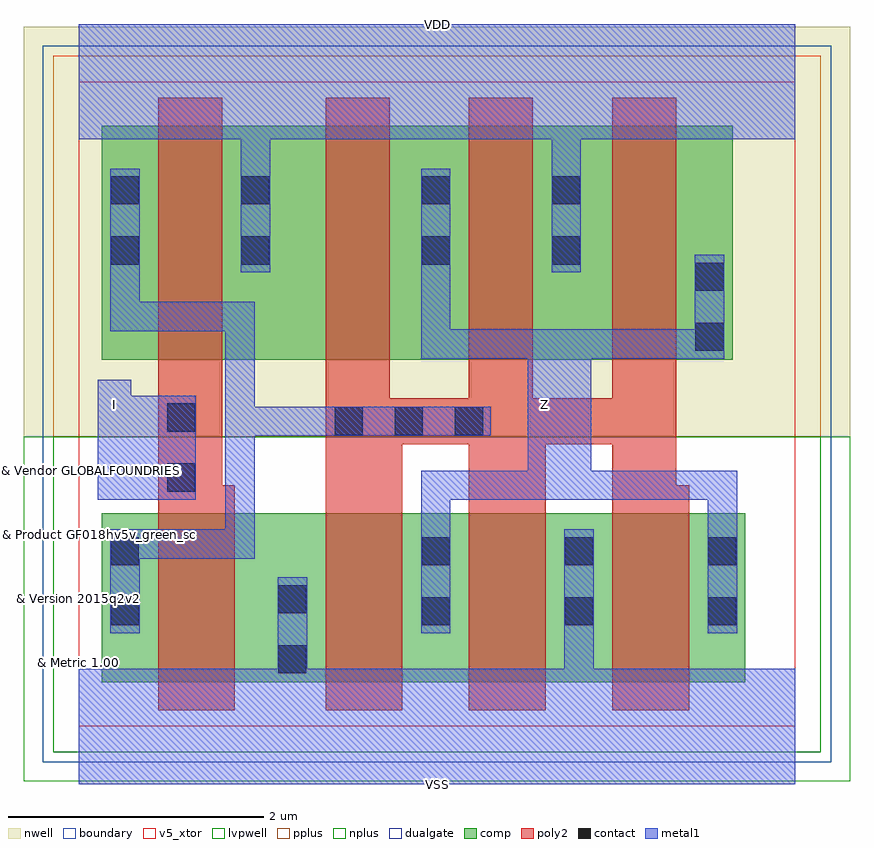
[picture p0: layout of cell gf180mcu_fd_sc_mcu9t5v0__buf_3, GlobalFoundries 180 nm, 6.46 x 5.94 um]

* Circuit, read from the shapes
.subckt gf180mcu_fd_sc_mcu9t5v0__buf_3 I VDD VSS Z
XM1 VSS I n1 VSUBS nfet_05v0 w=1.32u l=0.6u
XM2 Z n1 VSS VSUBS nfet_05v0 w=1.32u l=0.6u m=3
XM3 VDD I n1 n2 pfet_05v0 w=1.83u l=0.5u
XM4 Z n1 VDD n2 pfet_05v0 w=1.83u l=0.5u m=3
.ends

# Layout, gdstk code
import gdstk
lib = gdstk.Library(unit=1e-6, precision=1e-09)
def R(c, l, rs):  # rectangles x0, y0, x1, y1
    for r in rs: c.add(gdstk.rectangle(r[:2], r[2:], *l))
def A(c, l, x, y, w, h, nx, ny, dx, dy):  # array of equal rectangles
    R(c, l, [(x+i*dx, y+j*dy, x+i*dx+w, y+j*dy+h) for i in range(nx) for j in range(ny)])
def P(c, l, *ps):  # polygons
    for p in ps: c.add(gdstk.Polygon(p, *l))
boundary = (0, 0)
nwell = (21, 0)
comp = (22, 0)
poly2 = (30, 0)
pplus = (31, 0)
nplus = (32, 0)
contact = (33, 0)
metal1 = (34, 0)
dualgate = (55, 0)
v5_xtor = (112, 1)
lvpwell = (204, 0)

gf180mcu_fd_sc_mcu9t5v0_ = lib.new_cell('gf180mcu_fd_sc_mcu9t5v0__buf_3')
R(gf180mcu_fd_sc_mcu9t5v0_, boundary, [(0,0,5.6,5.04)])
R(gf180mcu_fd_sc_mcu9t5v0_, nwell, [(-0.43,2.265,6.03,5.47)])
R(gf180mcu_fd_sc_mcu9t5v0_, comp, [(0.18,0.345,5.21,1.665), (0.18,2.865,5.11,4.695)])
P(gf180mcu_fd_sc_mcu9t5v0_, poly2, [(0.62,0.125),(0.62,4.915),(1.12,4.915),(1.12,1.885),(1.22,1.885),(1.22,0.125)],
  [(1.93,0.125),(1.93,4.915),(2.43,4.915),(2.43,2.565),(3.05,2.565),(3.05,4.915),(3.55,4.915),(3.55,2.565),(4.17,2.565),(4.17,4.915),(4.67,4.915),(4.67,1.885),(4.77,1.885),(4.77,0.125),(4.17,0.125),(4.17,2.205),(3.65,2.205),(3.65,0.125),(3.05,0.125),(3.05,2.205),(2.53,2.205),(2.53,0.125)])
R(gf180mcu_fd_sc_mcu9t5v0_, pplus, [(-0.2,2.265,5.8,5.24)])
R(gf180mcu_fd_sc_mcu9t5v0_, nplus, [(-0.2,-0.2,5.8,2.265)])
A(gf180mcu_fd_sc_mcu9t5v0_, contact, 2.68, 0.79, 0.22, 0.22, 3, 2, 1.12, 0.47)
A(gf180mcu_fd_sc_mcu9t5v0_, contact, 2, 2.275, 0.22, 0.22, 3, 1, 0.47, 0)
R(gf180mcu_fd_sc_mcu9t5v0_, contact, [(1.56,0.415,1.78,0.635), (0.25,0.79,0.47,1.01), (1.56,0.885,1.78,1.105), (0.25,1.26,0.47,1.48), (0.69,1.835,0.91,2.055), (0.69,2.305,0.91,2.525), (4.82,2.935,5.04,3.155), (4.82,3.405,5.04,3.625), (0.25,3.61,0.47,3.83), (1.27,3.61,1.49,3.83), (2.68,3.61,2.9,3.83), (3.7,3.61,3.92,3.83), (0.25,4.08,0.47,4.3), (1.27,4.08,1.49,4.3), (2.68,4.08,2.9,4.3), (3.7,4.08,3.92,4.3)])
P(gf180mcu_fd_sc_mcu9t5v0_, metal1, [(0.15,1.77),(0.15,2.71),(0.41,2.71),(0.41,2.585),(0.915,2.585),(0.915,1.77)],
  [(0.245,0.73),(0.245,1.54),(1.145,1.54),(1.145,3.09),(0.245,3.09),(0.245,4.36),(0.475,4.36),(0.475,3.32),(1.375,3.32),(1.375,2.5),(3.22,2.5),(3.22,2.27),(1.375,2.27),(1.375,1.31),(0.475,1.31),(0.475,0.73)],
  [(2.675,0.73),(2.675,2),(3.51,2),(3.51,2.875),(2.675,2.875),(2.675,4.36),(2.905,4.36),(2.905,3.105),(4.815,3.105),(4.815,3.685),(5.045,3.685),(5.045,2.875),(4.005,2.875),(4.005,2),(5.145,2),(5.145,0.73),(4.915,0.73),(4.915,1.77),(2.905,1.77),(2.905,0.73)],
  [(0,-0.45),(0,0.45),(1.555,0.45),(1.555,1.165),(1.785,1.165),(1.785,0.45),(3.795,0.45),(3.795,1.54),(4.025,1.54),(4.025,0.45),(5.6,0.45),(5.6,-0.45)],
  [(1.265,3.55),(1.265,4.59),(0,4.59),(0,5.49),(5.6,5.49),(5.6,4.59),(3.925,4.59),(3.925,3.55),(3.695,3.55),(3.695,4.59),(1.495,4.59),(1.495,3.55)])
R(gf180mcu_fd_sc_mcu9t5v0_, dualgate, [(-0.28,-0.28,5.88,5.32)])
R(gf180mcu_fd_sc_mcu9t5v0_, v5_xtor, [(0,0,5.6,5.04)])
R(gf180mcu_fd_sc_mcu9t5v0_, lvpwell, [(-0.43,-0.43,6.03,2.265)])
gf180mcu_fd_sc_mcu9t5v0_.add(gdstk.Label('I', (0.28,2.52), layer=34, texttype=10))
gf180mcu_fd_sc_mcu9t5v0_.add(gdstk.Label('VDD', (2.8,5.49), layer=34, texttype=10))
gf180mcu_fd_sc_mcu9t5v0_.add(gdstk.Label('VSS', (2.8,-0.45), layer=34, texttype=10))
gf180mcu_fd_sc_mcu9t5v0_.add(gdstk.Label('Z', (3.64,2.52), layer=34, texttype=10))
gf180mcu_fd_sc_mcu9t5v0_.add(gdstk.Label('& Vendor GLOBALFOUNDRIES', (0,2), layer=63, texttype=63))
gf180mcu_fd_sc_mcu9t5v0_.add(gdstk.Label('& Product GF018hv5v_green_sc9', (0,1.5), layer=63, texttype=63))
gf180mcu_fd_sc_mcu9t5v0_.add(gdstk.Label('& Version 2015q2v2', (0,1), layer=63, texttype=63))
gf180mcu_fd_sc_mcu9t5v0_.add(gdstk.Label('& Metric 1.00', (0,0.5), layer=63, texttype=63))

lib.write_gds('gf180mcu_fd_sc_mcu9t5v0__buf_3.gds')
